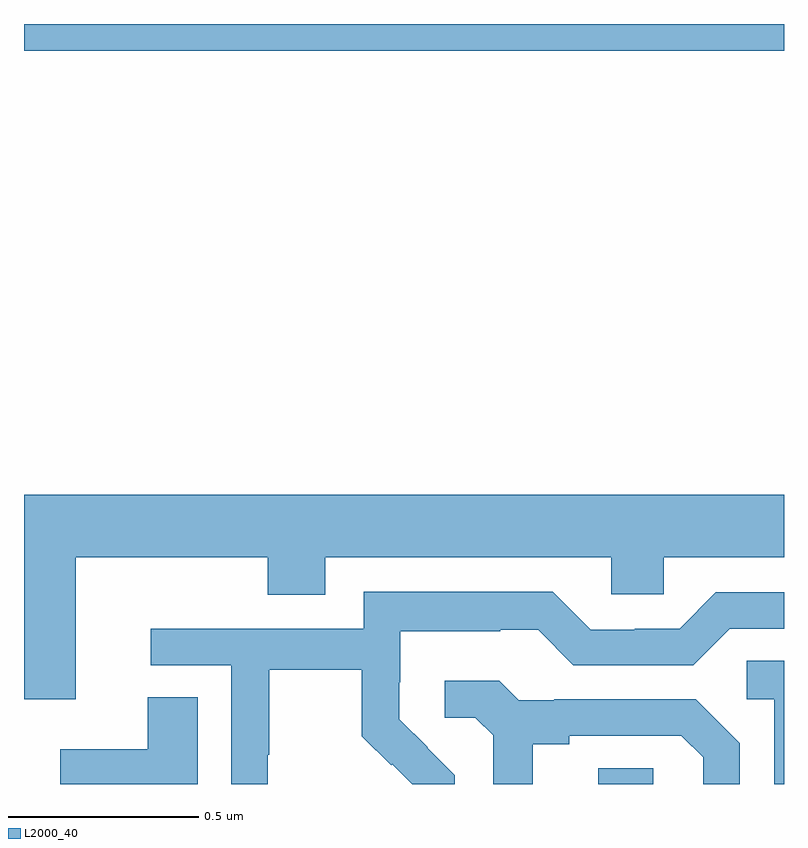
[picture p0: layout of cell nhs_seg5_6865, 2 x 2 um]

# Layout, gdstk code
import gdstk
lib = gdstk.Library(unit=1e-6, precision=1e-09)
def R(c, l, rs):  # rectangles x0, y0, x1, y1
    for r in rs: c.add(gdstk.rectangle(r[:2], r[2:], *l))
def P(c, l, *ps):  # polygons
    for p in ps: c.add(gdstk.Polygon(p, *l))
L2000_40 = (2000, 40)

nhs_seg5_6865 = lib.new_cell('nhs_seg5_6865')
R(nhs_seg5_6865, L2000_40, [(202.511,886.799,202.656,886.841), (201,888.728,203,888.799)])
P(nhs_seg5_6865, L2000_40, [(201,887.022),(201.136,887.022),(201.136,887.396),(201.641,887.396),(201.641,887.297),(201.793,887.297),(201.793,887.396),(202.545,887.396),(202.545,887.298),(202.683,887.298),(202.683,887.396),(203,887.396),(203,887.56),(201,887.56)],
  [(201.642,886.876),(201.645,886.876),(201.645,887.1),(201.889,887.1),(201.889,886.925),(201.966,886.848),(201.969,886.851),(202.022,886.799),(202.134,886.799),(202.134,886.822),(202.061,886.895),(202.062,886.896),(201.988,886.97),(201.988,887.067),(201.99,887.067),(201.99,887.201),(202.253,887.201),(202.253,887.205),(202.353,887.205),(202.446,887.112),(202.761,887.112),(202.857,887.208),(203,887.208),(203,887.304),(202.821,887.304),(202.725,887.208),(202.607,887.208),(202.607,887.205),(202.491,887.205),(202.391,887.305),(201.894,887.305),(201.894,887.208),(201.333,887.208),(201.333,887.112),(201.546,887.112),(201.546,886.799),(201.642,886.799)],
  [(203,887.123),(202.902,887.123),(202.902,887.022),(202.974,887.022),(202.974,886.799),(203,886.799)],
  [(202.339,886.904),(202.435,886.904),(202.435,886.926),(202.73,886.926),(202.787,886.869),(202.787,886.799),(202.884,886.799),(202.884,886.906),(202.768,887.022),(202.396,887.022),(202.396,887.019),(202.302,887.019),(202.25,887.071),(202.107,887.071),(202.107,886.974),(202.188,886.974),(202.235,886.927),(202.235,886.799),(202.339,886.799)],
  [(201.457,887.027),(201.326,887.027),(201.326,886.891),(201.096,886.891),(201.096,886.799),(201.457,886.799)])

lib.write_gds('nhs_seg5_6865.gds')
